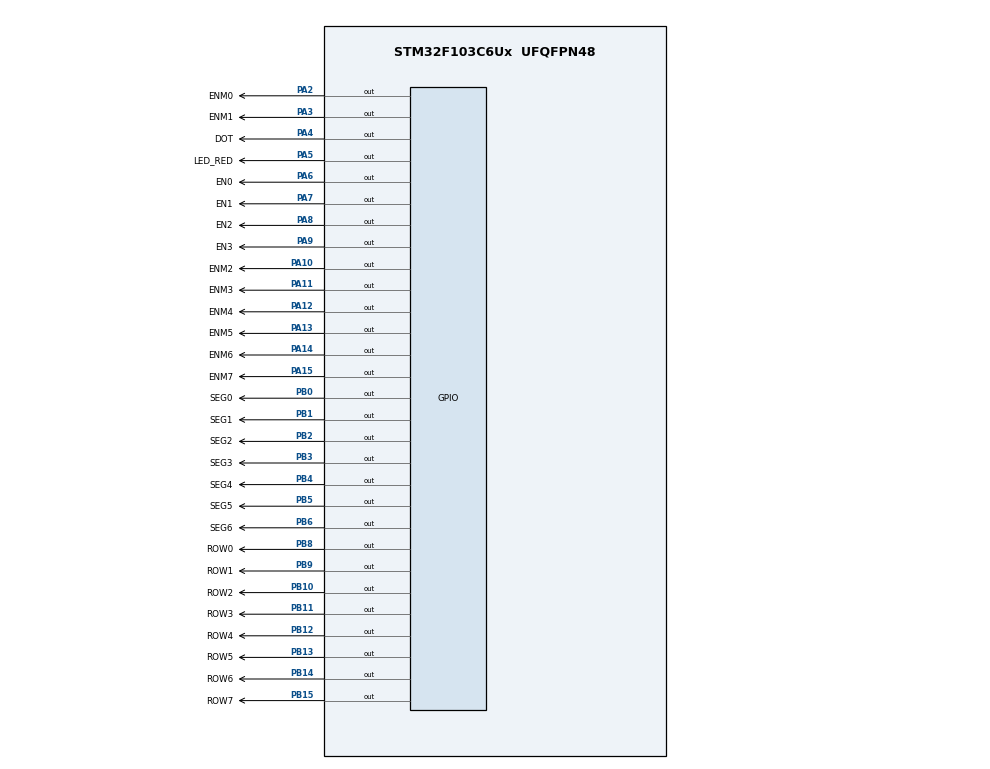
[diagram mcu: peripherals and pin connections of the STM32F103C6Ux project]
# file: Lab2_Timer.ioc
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Mcu.Family=STM32F1
Mcu.Name=STM32F103C6Ux
Mcu.Package=UFQFPN48
NVIC.PriorityGroup=NVIC_PRIORITYGROUP_4
NVIC.TIM2_IRQn=true\:0\:0\:false\:false\:true\:true\:true\:true
PA10.GPIO_Label=ENM2
PA10.Signal=GPIO_Output
PA11.GPIO_Label=ENM3
PA11.Signal=GPIO_Output
PA12.GPIO_Label=ENM4
PA12.Signal=GPIO_Output
PA13.GPIO_Label=ENM5
PA13.Signal=GPIO_Output
PA14.GPIO_Label=ENM6
PA14.Signal=GPIO_Output
PA15.GPIO_Label=ENM7
PA15.Signal=GPIO_Output
PA2.GPIO_Label=ENM0
PA2.Signal=GPIO_Output
PA3.GPIO_Label=ENM1
PA3.Signal=GPIO_Output
PA4.GPIO_Label=DOT
PA4.Signal=GPIO_Output
PA5.GPIO_Label=LED_RED
PA5.Signal=GPIO_Output
PA6.GPIO_Label=EN0
PA6.Signal=GPIO_Output
PA7.GPIO_Label=EN1
PA7.Signal=GPIO_Output
PA8.GPIO_Label=EN2
PA8.Signal=GPIO_Output
PA9.GPIO_Label=EN3
PA9.Signal=GPIO_Output
PB0.GPIO_Label=SEG0
PB0.Signal=GPIO_Output
PB1.GPIO_Label=SEG1
PB1.Signal=GPIO_Output
PB10.GPIO_Label=ROW2
PB10.Signal=GPIO_Output
PB11.GPIO_Label=ROW3
PB11.Signal=GPIO_Output
PB12.GPIO_Label=ROW4
PB12.Signal=GPIO_Output
PB13.GPIO_Label=ROW5
PB13.Signal=GPIO_Output
PB14.GPIO_Label=ROW6
PB14.Signal=GPIO_Output
PB15.GPIO_Label=ROW7
PB15.Signal=GPIO_Output
PB2.GPIO_Label=SEG2
PB2.Signal=GPIO_Output
PB3.GPIO_Label=SEG3
PB3.Signal=GPIO_Output
PB4.GPIO_Label=SEG4
PB4.Signal=GPIO_Output
PB5.GPIO_Label=SEG5
PB5.Signal=GPIO_Output
PB6.GPIO_Label=SEG6
PB6.Signal=GPIO_Output
PB8.GPIO_Label=ROW0
PB8.Signal=GPIO_Output
PB9.GPIO_Label=ROW1
PB9.Signal=GPIO_Output
ProjectManager.HeapSize=0x200
ProjectManager.StackSize=0x400
ProjectManager.TargetToolchain=STM32CubeIDE
RCC.APB1Freq_Value=8000000
RCC.APB2Freq_Value=8000000
TIM2.Period=9
TIM2.Prescaler=799
VP_SYS_VS_ND.Mode=No_Debug
VP_TIM2_VS_ClockSourceINT.Mode=Internal
board=custom

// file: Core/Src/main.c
/* USER CODE BEGIN Header */
/**
  ******************************************************************************
  * @file           : main.c
  * @brief          : Main program body
  ******************************************************************************
  * @attention
  *
  * Copyright (c) 2025 STMicroelectronics.
  * All rights reserved.
  *
  * This software is licensed under terms that can be found in the LICENSE file
  * in the root directory of this software component.
  * If no LICENSE file comes with this software, it is provided AS-IS.
  *
  ******************************************************************************
  */
/* USER CODE END Header */
#include "main.h"

/* USER CODE BEGIN Includes */
#include "timer_driver.h"
/* USER CODE END Includes */

/* USER CODE BEGIN PM */
#define EXERCISE 10
/* USER CODE END PM */

TIM_HandleTypeDef htim2;

void SystemClock_Config(void);
static void MX_GPIO_Init(void);
static void MX_TIM2_Init(void);

/* USER CODE BEGIN 0 */

//
#if EXERCISE == 1

#elif EXERCISE == 2

#elif EXERCISE == 3

#elif EXERCISE == 4

#elif EXERCISE == 5
#define TIME_SWITCH 25
//(x10 ms)
int counter = TIME_SWITCH;
int time_2led = 25;
int hour = 15, minute = 59, second = 50;

void updateClockBuffer(){
if(hour > 99 || hour < 0 || minute > 99 || minute < 0) return;
led_buffer[0] = hour/10;
led_buffer[1] = hour%10;
led_buffer[2] = minute/10;
led_buffer[3] = minute%10;
}
#elif EXERCISE == 6

#elif EXERCISE == 7
int hour = 15, minute = 8, second = 50;

void updateClockBuffer(){
if(hour > 99 || hour < 0 || minute > 99 || minute < 0) return;
led_buffer[0] = hour/10;
led_buffer[1] = hour%10;
led_buffer[2] = minute/10;
led_buffer[3] = minute%10;
}
#elif EXERCISE == 8

#elif EXERCISE == 9

#elif EXERCISE == 10

#endif
/* USER CODE END 0 */

int main(void)
{

  /* MCU Configuration--------------------------------------------------------*/

  /* Reset of all peripherals, Initializes the Flash interface and the Systick. */
  HAL_Init();

  /* Configure the system clock */
  SystemClock_Config();

  /* Initialize all configured peripherals */
  MX_GPIO_Init();
  MX_TIM2_Init();
  /* USER CODE BEGIN 2 */
  HAL_TIM_Base_Start_IT(&htim2);
  /* USER CODE END 2 */

  /* Infinite loop */
  /* USER CODE BEGIN WHILE */
#if EXERCISE == 1

#elif EXERCISE == 2

#elif EXERCISE == 3

#elif EXERCISE == 4

#elif EXERCISE == 5

#elif EXERCISE == 6
  setTimer(0, 1000);
#elif EXERCISE == 7
  setTimer(0, 1000); //RED_LED
  setTimer(1, 7); //CLOCK HOUR_MINUTE_SECOND
  setTimer(2, 250); //DISLAY 7 - SEG LED
  setTimer(3, 500);
#elif EXERCISE == 8

#elif EXERCISE == 9
  setTimer(0, 10);
#elif EXERCISE == 10
  setTimer(0, 100);
#endif
  while (1)
  {
#if EXERCISE == 1

#elif EXERCISE == 2

#elif EXERCISE == 3

#elif EXERCISE == 4

#elif EXERCISE == 5
	  second++;
	  if (second >= 60){
		  second = 0;
		  minute++;
	  }
	  if(minute >= 60){
		  minute = 0;
		  hour++;
	  }
	  if(hour >=24){
		  hour = 0;
	  }
	  updateClockBuffer();
	  HAL_Delay(1000);
#elif EXERCISE == 6
	  if(istimer_flag(0) == 1){
	   HAL_GPIO_TogglePin(LED_RED_GPIO_Port, LED_RED_Pin);
	   setTimer(0,2000);
	   }
#elif EXERCISE == 7
	  if(istimer_flag(0) == 1){
		   HAL_GPIO_TogglePin(LED_RED_GPIO_Port, LED_RED_Pin);
		   setTimer(0, 2000);
	  }
	  if(istimer_flag(1) == 1){
		  second++;
		  if (second >= 60){
			  second = 0;
			  minute++;
		  }
		  if(minute >= 60){
			  minute = 0;
			  hour++;
		  }
		  if(hour >=24){
			  hour = 0;
		  }
		  updateClockBuffer();
		  setTimer(1, 1000);
	  }
	  if(istimer_flag(2) == 1){
		  update7SEG(index_led++);
		  if(index_led > 3) index_led = 0;
		  setTimer(2, 250);
	  }
	  if(istimer_flag(3) == 1){
		  HAL_GPIO_TogglePin(DOT_GPIO_Port, DOT_Pin);
		  setTimer(3, 1000);
	  }
#elif EXERCISE == 8

#elif EXERCISE == 9
	  if(istimer_flag(0) == 1){
		  updateLEDMatrix(index_led_matrix, matrix_buffer[index_led_matrix]);
		  index_led_matrix++;
		  if(index_led_matrix > 7) index_led_matrix = 0;
		  setTimer(0, 10);
	  }
#elif EXERCISE == 10
	  if(istimer_flag(0) == 1){
		  matrix_buffer[index_led_matrix] = matrix_buffer[index_led_matrix]<<1|matrix_buffer[index_led_matrix]>>7;
		  updateLEDMatrix(index_led_matrix--);
		  if(index_led_matrix < 0) {index_led_matrix = 7;}
		  setTimer(0, 10);
	  }
#endif
    /* USER CODE END WHILE */

  }
}

void SystemClock_Config(void)
{
  RCC_OscInitTypeDef RCC_OscInitStruct = {0};
  RCC_ClkInitTypeDef RCC_ClkInitStruct = {0};

  /** Initializes the RCC Oscillators according to the specified parameters
  * in the RCC_OscInitTypeDef structure.
  */
  RCC_OscInitStruct.OscillatorType = RCC_OSCILLATORTYPE_HSI;
  RCC_OscInitStruct.HSIState = RCC_HSI_ON;
  RCC_OscInitStruct.HSICalibrationValue = RCC_HSICALIBRATION_DEFAULT;
  RCC_OscInitStruct.PLL.PLLState = RCC_PLL_NONE;
  if (HAL_RCC_OscConfig(&RCC_OscInitStruct) != HAL_OK)
  {
    Error_Handler();
  }

  /** Initializes the CPU, AHB and APB buses clocks
  */
  RCC_ClkInitStruct.ClockType = RCC_CLOCKTYPE_HCLK|RCC_CLOCKTYPE_SYSCLK
                              |RCC_CLOCKTYPE_PCLK1|RCC_CLOCKTYPE_PCLK2;
  RCC_ClkInitStruct.SYSCLKSource = RCC_SYSCLKSOURCE_HSI;
  RCC_ClkInitStruct.AHBCLKDivider = RCC_SYSCLK_DIV1;
  RCC_ClkInitStruct.APB1CLKDivider = RCC_HCLK_DIV1;
  RCC_ClkInitStruct.APB2CLKDivider = RCC_HCLK_DIV1;

  if (HAL_RCC_ClockConfig(&RCC_ClkInitStruct, FLASH_LATENCY_0) != HAL_OK)
  {
    Error_Handler();
  }
}

static void MX_TIM2_Init(void)
{

  TIM_ClockConfigTypeDef sClockSourceConfig = {0};
  TIM_MasterConfigTypeDef sMasterConfig = {0};

  htim2.Instance = TIM2;
  htim2.Init.Prescaler = 7999;
  htim2.Init.CounterMode = TIM_COUNTERMODE_UP;
  htim2.Init.Period = 9;
  htim2.Init.ClockDivision = TIM_CLOCKDIVISION_DIV1;
  htim2.Init.AutoReloadPreload = TIM_AUTORELOAD_PRELOAD_DISABLE;
  if (HAL_TIM_Base_Init(&htim2) != HAL_OK)
  {
    Error_Handler();
  }
  sClockSourceConfig.ClockSource = TIM_CLOCKSOURCE_INTERNAL;
  if (HAL_TIM_ConfigClockSource(&htim2, &sClockSourceConfig) != HAL_OK)
  {
    Error_Handler();
  }
  sMasterConfig.MasterOutputTrigger = TIM_TRGO_RESET;
  sMasterConfig.MasterSlaveMode = TIM_MASTERSLAVEMODE_DISABLE;
  if (HAL_TIMEx_MasterConfigSynchronization(&htim2, &sMasterConfig) != HAL_OK)
  {
    Error_Handler();
  }

}

static void MX_GPIO_Init(void)
{
  GPIO_InitTypeDef GPIO_InitStruct = {0};

  /* GPIO Ports Clock Enable */
  __HAL_RCC_GPIOA_CLK_ENABLE();
  __HAL_RCC_GPIOB_CLK_ENABLE();

  /*Configure GPIO pin Output Level */
  HAL_GPIO_WritePin(GPIOA, ENM0_Pin|ENM1_Pin|DOT_Pin|LED_RED_Pin
                          |EN0_Pin|EN1_Pin|EN2_Pin|EN3_Pin
                          |ENM2_Pin|ENM3_Pin|ENM4_Pin|ENM5_Pin
                          |ENM6_Pin|ENM7_Pin, GPIO_PIN_RESET);

  /*Configure GPIO pin Output Level */
  HAL_GPIO_WritePin(GPIOB, SEG0_Pin|SEG1_Pin|SEG2_Pin|ROW2_Pin
                          |ROW3_Pin|ROW4_Pin|ROW5_Pin|ROW6_Pin
                          |ROW7_Pin|SEG3_Pin|SEG4_Pin|SEG5_Pin
                          |SEG6_Pin|ROW0_Pin|ROW1_Pin, GPIO_PIN_RESET);

  /*Configure GPIO pins : ENM0_Pin ENM1_Pin DOT_Pin LED_RED_Pin
                           EN0_Pin EN1_Pin EN2_Pin EN3_Pin
                           ENM2_Pin ENM3_Pin ENM4_Pin ENM5_Pin
                           ENM6_Pin ENM7_Pin */
  GPIO_InitStruct.Pin = ENM0_Pin|ENM1_Pin|DOT_Pin|LED_RED_Pin
                          |EN0_Pin|EN1_Pin|EN2_Pin|EN3_Pin
                          |ENM2_Pin|ENM3_Pin|ENM4_Pin|ENM5_Pin
                          |ENM6_Pin|ENM7_Pin;
  GPIO_InitStruct.Mode = GPIO_MODE_OUTPUT_PP;
  GPIO_InitStruct.Pull = GPIO_NOPULL;
  GPIO_InitStruct.Speed = GPIO_SPEED_FREQ_LOW;
  HAL_GPIO_Init(GPIOA, &GPIO_InitStruct);

  /*Configure GPIO pins : SEG0_Pin SEG1_Pin SEG2_Pin ROW2_Pin
                           ROW3_Pin ROW4_Pin ROW5_Pin ROW6_Pin
                           ROW7_Pin SEG3_Pin SEG4_Pin SEG5_Pin
                           SEG6_Pin ROW0_Pin ROW1_Pin */
  GPIO_InitStruct.Pin = SEG0_Pin|SEG1_Pin|SEG2_Pin|ROW2_Pin
                          |ROW3_Pin|ROW4_Pin|ROW5_Pin|ROW6_Pin
                          |ROW7_Pin|SEG3_Pin|SEG4_Pin|SEG5_Pin
                          |SEG6_Pin|ROW0_Pin|ROW1_Pin;
  GPIO_InitStruct.Mode = GPIO_MODE_OUTPUT_PP;
  GPIO_InitStruct.Pull = GPIO_NOPULL;
  GPIO_InitStruct.Speed = GPIO_SPEED_FREQ_LOW;
  HAL_GPIO_Init(GPIOB, &GPIO_InitStruct);

}

/* USER CODE BEGIN 4 */
#if EXERCISE == 1
#define TIME_SWITCH 50
//(x10 ms)
int LED_PA5 = 100;
int counter = TIME_SWITCH;
int state = 0;
void HAL_TIM_PeriodElapsedCallback(TIM_HandleTypeDef *htim)
{
	if(counter <= 0){
		if(state == 0){
			HAL_GPIO_WritePin(EN1_GPIO_Port, EN1_Pin, 1);
			HAL_GPIO_WritePin(EN0_GPIO_Port, EN0_Pin, 0);
			display7SEG(1);
			state = 1;
		}
		else if(state == 1){
			HAL_GPIO_WritePin(EN1_GPIO_Port, EN1_Pin, 0);
			HAL_GPIO_WritePin(EN0_GPIO_Port, EN0_Pin, 1);
			display7SEG(2);
			state = 0;
		}
		counter = TIME_SWITCH;
	}
	if(LED_PA5 <= 0){
		 LED_PA5 = 100;
		 HAL_GPIO_TogglePin(LED_RED_GPIO_Port, LED_RED_Pin);
	 }
	LED_PA5--;
	counter--;
}
#elif EXERCISE == 2
#define TIME_SWITCH 50
//(x10 ms)
int counter = TIME_SWITCH;
int LED_PA5 = 100;
int state = 0;
int time_2led = 100;
void HAL_TIM_PeriodElapsedCallback(TIM_HandleTypeDef *htim)
{
	if(time_2led <= 0){
		HAL_GPIO_TogglePin(DOT_GPIO_Port, DOT_Pin);
		time_2led = 100;
	}
	if(counter <= 0){
		if(state == 0){
			HAL_GPIO_WritePin(EN3_GPIO_Port, EN3_Pin, 1);
			HAL_GPIO_WritePin(EN2_GPIO_Port, EN2_Pin, 1);
			HAL_GPIO_WritePin(EN1_GPIO_Port, EN1_Pin, 1);
			HAL_GPIO_WritePin(EN0_GPIO_Port, EN0_Pin, 0);
			display7SEG(1);
			state = 1;
		}
		else if(state == 1){
			HAL_GPIO_WritePin(EN3_GPIO_Port, EN3_Pin, 1);
			HAL_GPIO_WritePin(EN2_GPIO_Port, EN2_Pin, 1);
			HAL_GPIO_WritePin(EN1_GPIO_Port, EN1_Pin, 0);
			HAL_GPIO_WritePin(EN0_GPIO_Port, EN0_Pin, 1);
			display7SEG(2);
			state = 2;
		}
		else if(state == 2){
			HAL_GPIO_WritePin(EN3_GPIO_Port, EN3_Pin, 1);
			HAL_GPIO_WritePin(EN2_GPIO_Port, EN2_Pin, 0);
			HAL_GPIO_WritePin(EN1_GPIO_Port, EN1_Pin, 1);
			HAL_GPIO_WritePin(EN0_GPIO_Port, EN0_Pin, 1);
			display7SEG(3);
			state = 3;
		}
		else if(state == 3){
			HAL_GPIO_WritePin(EN3_GPIO_Port, EN3_Pin, 0);
			HAL_GPIO_WritePin(EN2_GPIO_Port, EN2_Pin, 1);
			HAL_GPIO_WritePin(EN1_GPIO_Port, EN1_Pin, 1);
			HAL_GPIO_WritePin(EN0_GPIO_Port, EN0_Pin, 1);
			display7SEG(0);
			state = 0;
		}
		counter = TIME_SWITCH;
	}
	if(LED_PA5 <= 0){
		 LED_PA5 = 100;
		 HAL_GPIO_TogglePin(LED_RED_GPIO_Port, LED_RED_Pin);
	 }
	counter--;
	time_2led--;
	LED_PA5--;
}
#elif EXERCISE == 3
#define TIME_SWITCH 50
//(x10 ms)
int counter = TIME_SWITCH;
int LED_PA5 = 100;
int time_2led = 100;

void HAL_TIM_PeriodElapsedCallback(TIM_HandleTypeDef *htim)
{
	if(time_2led <= 0){
		HAL_GPIO_TogglePin(DOT_GPIO_Port, DOT_Pin);
		time_2led = 100;
	}
	if(counter <= 0){
		update7SEG(index_led++);
		if(index_led > 3) index_led = 0;
		counter = TIME_SWITCH;
	}
	if(LED_PA5 <= 0){
		 LED_PA5 = 100;
		 HAL_GPIO_TogglePin(LED_RED_GPIO_Port, LED_RED_Pin);
	 }
	LED_PA5--;
	counter--;
	time_2led--;
}
#elif EXERCISE == 4
#define TIME_SWITCH 25
//(x10 ms)
int counter = TIME_SWITCH;
int LED_PA5 = 100;
int time_2led = 100;

void HAL_TIM_PeriodElapsedCallback(TIM_HandleTypeDef *htim)
{
	if(time_2led <= 0){
		HAL_GPIO_TogglePin(DOT_GPIO_Port, DOT_Pin);
		time_2led = 100;
	}
	if(counter <= 0){
		update7SEG(index_led++);
		if(index_led > 3) index_led = 0;
		counter = TIME_SWITCH;
	}
	if(LED_PA5 <= 0){
		 LED_PA5 = 100;
		 HAL_GPIO_TogglePin(LED_RED_GPIO_Port, LED_RED_Pin);
	 }
	LED_PA5--;
	counter--;
	time_2led--;
}
#elif EXERCISE == 5
int LED_PA5 = 100;

void HAL_TIM_PeriodElapsedCallback(TIM_HandleTypeDef *htim)
{
	if(time_2led <= 0){
		HAL_GPIO_TogglePin(DOT_GPIO_Port, DOT_Pin);
		time_2led = 100;
	}
	if(counter <= 0){
		update7SEG(index_led++);
		if(index_led > 3) index_led = 0;
		counter = TIME_SWITCH;
	}
	if(LED_PA5 <= 0){
		 LED_PA5 = 100;
		 HAL_GPIO_TogglePin(LED_RED_GPIO_Port, LED_RED_Pin);
	 }
	LED_PA5--;
	counter--;
	time_2led--;
}
#elif EXERCISE == 6
void HAL_TIM_PeriodElapsedCallback(TIM_HandleTypeDef *htim)
{
    timer_run();
}
#elif EXERCISE == 7
void HAL_TIM_PeriodElapsedCallback(TIM_HandleTypeDef *htim)
{
timer_run();
}
#elif EXERCISE == 8
void HAL_TIM_PeriodElapsedCallback(TIM_HandleTypeDef *htim)
{

}
#elif EXERCISE == 9
void HAL_TIM_PeriodElapsedCallback(TIM_HandleTypeDef *htim)
{
timer_run();
}
#elif EXERCISE == 10
void HAL_TIM_PeriodElapsedCallback(TIM_HandleTypeDef *htim)
{
timer_run();
}
#endif
/* USER CODE END 4 */

void Error_Handler(void)
{
  __disable_irq();
  while (1)
  {
  }
}
